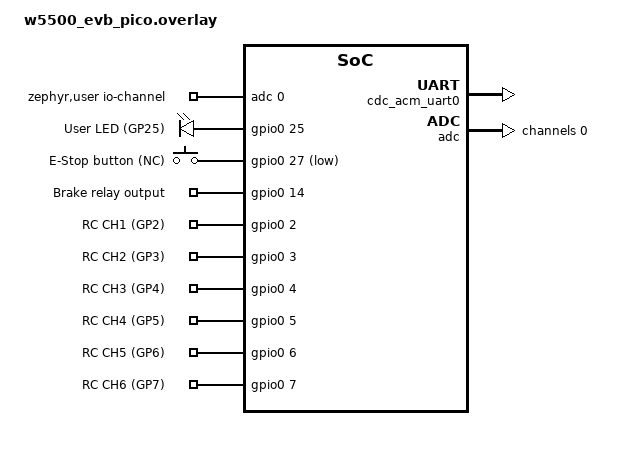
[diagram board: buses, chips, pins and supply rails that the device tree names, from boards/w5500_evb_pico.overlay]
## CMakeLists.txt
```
cmake_minimum_required(VERSION 3.20.0)

list(APPEND ZEPHYR_EXTRA_MODULES
    $ENV{ZEPHYR_BASE}/../modules/lib/micro_ros_zephyr_module/modules/libmicroros
    ${CMAKE_CURRENT_SOURCE_DIR}/modules/w6100_driver)

find_package(Zephyr REQUIRED HINTS $ENV{ZEPHYR_BASE})
project(w6100_pico_bridge)

target_sources(app PRIVATE
    src/main.c
    src/config/config.c
    src/shell/shell_cmd.c
    src/bridge/channel_manager.c
    src/bridge/diagnostics.c
    src/bridge/param_server.c
    src/bridge/service_manager.c
    src/drivers/drv_gpio.c
    src/drivers/drv_adc.c
    src/drivers/drv_pwm_in.c
    src/user/user_channels.c
    src/user/test_channels.c
    src/user/estop.c
    src/user/rc.c
)

target_include_directories(app PRIVATE src)
```

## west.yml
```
manifest:
  version: "0.13"

  remotes:
    - name: zephyrproject-rtos
      url-base: https://github.com/zephyrproject-rtos
    - name: micro-ros
      url-base: https://github.com/micro-ROS

  projects:
    - name: zephyr
      remote: zephyrproject-rtos
      revision: main
      import: true

    - name: micro_ros_zephyr_module
      remote: micro-ros
      revision: jazzy
      path: modules/lib/micro_ros_zephyr_module

  self:
    path: app
```

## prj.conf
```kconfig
# USB CDC ACM - serial konzol
CONFIG_USB_DEVICE_STACK=y
CONFIG_USB_CDC_ACM=y
CONFIG_UART_LINE_CTRL=y
CONFIG_SERIAL=y
CONFIG_CONSOLE=y
CONFIG_UART_CONSOLE=y

# Networking
CONFIG_NETWORKING=y
CONFIG_NET_L2_ETHERNET=y
CONFIG_NET_L2_ETHERNET_MGMT=y
# W6100 out-of-tree driver — app/modules/w6100_driver/ (backport Zephyr main
# upstream PR-ból v4.2.2 alá). Az overlay átírja a &ethernet node compatible
# mezőjét "wiznet,w6100"-ra, így a stock w5500 driver kikapcsolható.
CONFIG_ETH_W5500=n
CONFIG_ETH_W6100=y
CONFIG_NET_IPV4=y
CONFIG_NET_UDP=y
CONFIG_NET_LOG=y

# IP konfig — a tényleges beállítás config.json-ból jön (main.c)
CONFIG_NET_DHCPV4=y

# Hostname — set dynamically at runtime from node_name
CONFIG_NET_HOSTNAME_ENABLE=y
CONFIG_NET_HOSTNAME_DYNAMIC=y
CONFIG_NET_HOSTNAME="ROS_Bridge"
CONFIG_NET_HOSTNAME_MAX_LEN=63

# POSIX sockets (micro-ROS UDP transport)
CONFIG_POSIX_API=y
CONFIG_NET_SOCKETS=y

# Network buffers (RP2040: 264KB RAM)
CONFIG_NET_PKT_RX_COUNT=8
CONFIG_NET_PKT_TX_COUNT=8
CONFIG_NET_BUF_RX_COUNT=24
CONFIG_NET_BUF_TX_COUNT=24

# micro-ROS
CONFIG_MICROROS=y
CONFIG_MICROROS_TRANSPORT_UDP=y
CONFIG_MICROROS_AGENT_IP="192.168.68.125"
CONFIG_MICROROS_AGENT_PORT="8888"

# C++ és newlib (micro-ROS szükséges)
CONFIG_CPP=y
CONFIG_NEWLIB_LIBC=y
CONFIG_NEWLIB_LIBC_NANO=n

# Logging
CONFIG_LOG=y
CONFIG_LOG_DEFAULT_LEVEL=3
CONFIG_LOG_PROCESS_THREAD_STACK_SIZE=2048

# Random number generator (networking igényli)
CONFIG_ENTROPY_GENERATOR=y
CONFIG_TEST_RANDOM_GENERATOR=y

# Heap / Stack (micro-ROS nagyobb igény)
CONFIG_HEAP_MEM_POOL_SIZE=98304
CONFIG_MAIN_STACK_SIZE=16384

# Flash + LittleFS (config tárolás)
CONFIG_FLASH=y
CONFIG_FLASH_MAP=y
CONFIG_FLASH_PAGE_LAYOUT=y
CONFIG_FILE_SYSTEM=y
CONFIG_FILE_SYSTEM_LITTLEFS=y
CONFIG_FS_LITTLEFS_FC_HEAP_SIZE=4096

# Shell (config parancsok soros konzolon)
CONFIG_SHELL=y
CONFIG_SHELL_BACKEND_SERIAL=y
CONFIG_SHELL_STACK_SIZE=4096
CONFIG_SHELL_ARGC_MAX=8
CONFIG_SHELL_CMD_BUFF_SIZE=256
CONFIG_SHELL_BACKEND_SERIAL_RX_RING_BUFFER_SIZE=512
CONFIG_SHELL_BACKEND_SERIAL_TX_RING_BUFFER_SIZE=8192
CONFIG_SHELL_STACK_SIZE=8192
CONFIG_REBOOT=y

# Hardware watchdog (RP2040 beépített WDT)
CONFIG_WATCHDOG=y

# Hardware info (RP2040 unique device ID — used for MAC generation)
CONFIG_HWINFO=y

# Heap runtime stats (ERR-001 investigation: param_server_init)
CONFIG_SYS_HEAP_RUNTIME_STATS=y

# --- micro-ROS entity limits ---
# Publishers: 16 csatorna + 1 diagnostics + 1 param event + spare = 20
# Subscribers: 16 csatorna (legrosszabb eset)
# Servers: 6 param server + 2 user service (E-Stop, relay) = 8
CONFIG_MICROROS_PUBLISHERS="20"
CONFIG_MICROROS_SUBSCRIBERS="16"
CONFIG_MICROROS_SERVERS="8"
CONFIG_MICROROS_CLIENTS="0"
CONFIG_MICROROS_NODES="1"

# --- GPIO interrupt (atomic flag ISR-hez) ---
# CONFIG_ATOMIC_OPERATIONS_BUILTIN nem user-configurable; RP2040-on automatikusan builtin

# --- ADC (akkumulátor feszültségmérés) ---
CONFIG_ADC=y
```

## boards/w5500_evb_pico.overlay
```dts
/ {
	chosen {
		zephyr,console = &cdc_acm_uart0;
		zephyr,shell-uart = &cdc_acm_uart0;
	};

	/*
	 * ADC csatorna — akkumulátor feszültség mérés
	 * Placeholder: GP26 = ADC0. Hardver véglegesítésekor csak a channel
	 * számot kell átírni (0=GP26, 1=GP27, 2=GP28, 3=GP29/VSYS).
	 */
	zephyr,user {
		io-channels = <&adc 0>;
	};

	leds {
		compatible = "gpio-leds";
		user_led: led_0 {
			gpios = <&gpio0 25 GPIO_ACTIVE_HIGH>;
			label = "User LED (GP25)";
		};
	};

	/*
	 * GPIO csatornák — placeholder pinek, hardver véglegesítésekor
	 * csak az alábbi GP számokat kell átírni, C kód nem változik.
	 *
	 * estop-btn:   GP27 — E-Stop NC gomb (GND felé kötve, pull-up)
	 * relay-brake: GP14 — Fékvezérlő relé kimenet
	 */
	gpio_channels {
		compatible = "gpio-keys";

		estop_btn: estop_btn {
			gpios = <&gpio0 27 (GPIO_ACTIVE_LOW | GPIO_PULL_UP)>;
			label = "E-Stop button (NC)";
		};

		relay_brake: relay_brake {
			gpios = <&gpio0 14 GPIO_ACTIVE_HIGH>;
			label = "Brake relay output";
		};
	};

	rc_inputs {
		compatible = "gpio-keys";

		rc_ch1: rc_ch1 { gpios = <&gpio0 2 0>; label = "RC CH1 (GP2)"; };
		rc_ch2: rc_ch2 { gpios = <&gpio0 3 0>; label = "RC CH2 (GP3)"; };
		rc_ch3: rc_ch3 { gpios = <&gpio0 4 0>; label = "RC CH3 (GP4)"; };
		rc_ch4: rc_ch4 { gpios = <&gpio0 5 0>; label = "RC CH4 (GP5)"; };
		rc_ch5: rc_ch5 { gpios = <&gpio0 6 0>; label = "RC CH5 (GP6)"; };
		rc_ch6: rc_ch6 { gpios = <&gpio0 7 0>; label = "RC CH6 (GP7)"; };
	};

	aliases {
		led0        = &user_led;
		estop-btn   = &estop_btn;
		relay-brake = &relay_brake;
		rc-ch1      = &rc_ch1;
		rc-ch2      = &rc_ch2;
		rc-ch3      = &rc_ch3;
		rc-ch4      = &rc_ch4;
		rc-ch5      = &rc_ch5;
		rc-ch6      = &rc_ch6;
	};
};

&zephyr_udc0 {
	cdc_acm_uart0: cdc_acm_uart0 {
		compatible = "zephyr,cdc-acm-uart";
	};
};

/*
 * Board hardware contains a WIZnet W6100 chip. A stock `w5500_evb_pico` board
 * def a wiznet,w5500 drivert köti a &ethernet node-hoz, itt felülírjuk W6100-ra.
 * Driver forrása: app/modules/w6100_driver/ (out-of-tree backport a Zephyr main
 * upstream PR-ból v4.2.2 alá). Kconfig: CONFIG_ETH_W6100.
 */
&ethernet {
	compatible = "wiznet,w6100";
};

/* ADC — akkumulátor feszültség (GP26 = channel 0, placeholder) */
&adc {
	#address-cells = <1>;
	#size-cells = <0>;
	status = "okay";

	channel@0 {
		reg = <0>;
		zephyr,gain = "ADC_GAIN_1";
		zephyr,reference = "ADC_REF_INTERNAL";
		zephyr,acquisition-time = <ADC_ACQ_TIME_DEFAULT>;
		zephyr,resolution = <12>;
	};
};

/* LittleFS storage partition — last 1MB of flash (offset 15MB) */
&flash0 {
	partitions {
		storage_partition: partition@f00000 {
			label = "storage";
			reg = <0x00f00000 0x00100000>;
		};
	};
};
```

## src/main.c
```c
#include <zephyr/kernel.h>
#include <zephyr/logging/log.h>
#include <zephyr/usb/usb_device.h>
#include <zephyr/drivers/uart.h>
#include <zephyr/drivers/gpio.h>
#include <zephyr/drivers/watchdog.h>
#include <zephyr/net/net_if.h>
#include <zephyr/net/net_core.h>
#include <zephyr/net/net_ip.h>
#include <zephyr/net/dhcpv4.h>
#include <zephyr/net/net_mgmt.h>
#include <zephyr/net/net_event.h>
#include <zephyr/sys/reboot.h>
#include <zephyr/drivers/hwinfo.h>
#include <zephyr/net/ethernet.h>
#include <zephyr/net/hostname.h>

#include <rcl/rcl.h>
#include <rcl/error_handling.h>
#include <rclc/rclc.h>
#include <rclc/executor.h>
#include <rmw_microros/rmw_microros.h>
#include <microros_transports.h>

#include <string.h>
#include "config/config.h"
#include "bridge/channel_manager.h"
#include "bridge/diagnostics.h"
#include "bridge/param_server.h"
#include "bridge/service_manager.h"
#include "user/user_channels.h"

LOG_MODULE_REGISTER(main, LOG_LEVEL_INF);

BUILD_ASSERT(DT_NODE_HAS_COMPAT(DT_CHOSEN(zephyr_console), zephyr_cdc_acm_uart),
	     "Console device is not CDC ACM UART");

/* ------------------------------------------------------------------ */
/*  Timing constants                                                   */
/* ------------------------------------------------------------------ */

#define DTR_TIMEOUT_MS       3000   /* max wait for USB monitor (autonomous mode) */
#define WDT_TIMEOUT_MS       8000   /* hardware watchdog timeout (RP2040 max ~8388ms) */
#define AGENT_PING_TIMEOUT   200    /* agent ping timeout in ms                   */
#define AGENT_PING_ATTEMPTS  1      /* number of ping attempts per cycle          */
#define AGENT_WAIT_DELAY_MS  2000   /* delay between ping retries                 */
#define NET_LINK_TIMEOUT_S   15     /* Ethernet link UP wait timeout              */
#define DHCP_TIMEOUT_S       20     /* DHCP lease acquisition timeout             */

/* ------------------------------------------------------------------ */
/*  Hardware watchdog                                                  */
/* ------------------------------------------------------------------ */

static const struct device *wdt;
static int wdt_channel = -1;

static void watchdog_init(void)
{
	wdt = DEVICE_DT_GET(DT_NODELABEL(wdt0));
	if (!device_is_ready(wdt)) {
		LOG_WRN("Watchdog not available");
		wdt = NULL;
		return;
	}

	struct wdt_timeout_cfg wdt_cfg = {
		.window.min = 0,
		.window.max = WDT_TIMEOUT_MS,
		.callback   = NULL,
		.flags      = WDT_FLAG_RESET_SOC,
	};

	wdt_channel = wdt_install_timeout(wdt, &wdt_cfg);
	if (wdt_channel < 0) {
		LOG_WRN("Watchdog timeout install error: %d", wdt_channel);
		wdt = NULL;
		return;
	}

	if (wdt_setup(wdt, WDT_OPT_PAUSE_HALTED_BY_DBG) < 0) {
		LOG_WRN("Watchdog setup error");
		wdt = NULL;
		return;
	}

	LOG_INF("Watchdog active (%d ms timeout)", WDT_TIMEOUT_MS);
}

static inline void watchdog_feed(void)
{
	if (wdt && wdt_channel >= 0) {
		wdt_feed(wdt, wdt_channel);
	}
}

/* ------------------------------------------------------------------ */
/*  Status LED — GP25 (built-in LED)                                  */
/* ------------------------------------------------------------------ */

static const struct gpio_dt_spec status_led =
	GPIO_DT_SPEC_GET(DT_ALIAS(led0), gpios);

static void led_set(bool on)
{
	gpio_pin_set_dt(&status_led, on ? 1 : 0);
}

/* ------------------------------------------------------------------ */
/*  Apply network configuration (DHCP or static IP)                  */
/* ------------------------------------------------------------------ */

static K_SEM_DEFINE(net_event_sem, 0, 1);
static struct net_mgmt_event_callback net_mgmt_cb;

static void net_event_handler(struct net_mgmt_event_callback *cb,
			       uint64_t event, struct net_if *iface)
{
	ARG_UNUSED(cb);
	ARG_UNUSED(iface);
	if (event == NET_EVENT_IF_UP ||
	    event == NET_EVENT_IPV4_DHCP_BOUND) {
		k_sem_give(&net_event_sem);
	}
}

static int parse_mac_str(const char *str, uint8_t *out)
{
	if (strlen(str) != 17) {
		return -EINVAL;
	}
	for (int i = 0; i < 6; i++) {
		char byte_str[3] = { str[i * 3], str[i * 3 + 1], '\0' };
		char *end;
		unsigned long val = strtoul(byte_str, &end, 16);

		if (*end != '\0' || val > 0xFF) {
			return -EINVAL;
		}
		out[i] = (uint8_t)val;
	}
	return 0;
}

static int set_mac_on_chip(struct net_if *iface, uint8_t *mac)
{
	const struct device *dev = net_if_get_device(iface);
	const struct ethernet_api *api = dev->api;
	struct ethernet_config config = { 0 };

	memcpy(config.mac_address.addr, mac, 6);
	return api->set_config(dev, ETHERNET_CONFIG_TYPE_MAC_ADDRESS, &config);
}

static void apply_mac_address(struct net_if *iface)
{
	uint8_t mac[6];
	int rc;

	if (g_config.network.mac[0] != '\0') {
		if (parse_mac_str(g_config.network.mac, mac) == 0) {
			rc = set_mac_on_chip(iface, mac);
			if (rc == 0) {
				LOG_INF("MAC: %02x:%02x:%02x:%02x:%02x:%02x (config)",
					mac[0], mac[1], mac[2],
					mac[3], mac[4], mac[5]);
				return;
			}
			LOG_WRN("set MAC from config failed: %d", rc);
		} else {
			LOG_WRN("Invalid MAC in config.json, falling back to auto");
		}
	}

	uint8_t dev_id[8];
	ssize_t id_len = hwinfo_get_device_id(dev_id, sizeof(dev_id));

	if (id_len >= 5) {
		mac[0] = 0x02; /* locally administered */
		mac[1] = dev_id[0];
		mac[2] = dev_id[1];
		mac[3] = dev_id[2];
		mac[4] = dev_id[3];
		mac[5] = dev_id[4];
		rc = set_mac_on_chip(iface, mac);
		if (rc == 0) {
			LOG_INF("MAC: %02x:%02x:%02x:%02x:%02x:%02x (auto/hwinfo)",
				mac[0], mac[1], mac[2],
				mac[3], mac[4], mac[5]);
		} else {
			LOG_WRN("set MAC from hwinfo failed: %d", rc);
		}
	} else {
		LOG_WRN("hwinfo_get_device_id failed (%d), using DTS MAC",
			(int)id_len);
	}
}

static void apply_network_config(void)
{
	struct net_if *iface = net_if_get_default();

	/* Set unique MAC before any network operations */
	apply_mac_address(iface);

	/* Set hostname for DHCP identification: ROS_Bridge_<node_name> */
	{
		char hostname[64];
		int n = snprintf(hostname, sizeof(hostname), "ROS_Bridge_%s",
				 g_config.ros.node_name);
		if (n > 0 && (size_t)n < sizeof(hostname)) {
			net_hostname_set(hostname, n);
		}
		LOG_INF("Hostname: %s", net_hostname_get());
	}

	/* Wait for Ethernet link UP — feed WDT in 500ms slices to avoid 8s timeout */
	if (!net_if_is_up(iface)) {
		LOG_INF("Waiting for Ethernet link (max %ds)...", NET_LINK_TIMEOUT_S);
		net_mgmt_init_event_callback(&net_mgmt_cb, net_event_handler,
					     NET_EVENT_IF_UP);
		net_mgmt_add_event_callback(&net_mgmt_cb);
		bool link_up = false;
		int64_t link_deadline = k_uptime_get() + NET_LINK_TIMEOUT_S * 1000;

		while (k_uptime_get() < link_deadline) {
			watchdog_feed();
			if (k_sem_take(&net_event_sem, K_MSEC(500)) == 0) {
				link_up = true;
				break;
			}
		}
		if (link_up) {
			LOG_INF("Ethernet link UP");
		} else {
			LOG_WRN("Ethernet link timeout — continuing without cable");
		}
		net_mgmt_del_event_callback(&net_mgmt_cb);
	}

	if (g_config.network.dhcp) {
		LOG_INF("Network: DHCP starting...");
		net_mgmt_init_event_callback(&net_mgmt_cb, net_event_handler,
					     NET_EVENT_IPV4_DHCP_BOUND);
		net_mgmt_add_event_callback(&net_mgmt_cb);
		net_dhcpv4_start(iface);
		bool dhcp_ok = false;
		int64_t dhcp_deadline = k_uptime_get() + DHCP_TIMEOUT_S * 1000;

		while (k_uptime_get() < dhcp_deadline) {
			watchdog_feed();
			if (k_sem_take(&net_event_sem, K_MSEC(500)) == 0) {
				dhcp_ok = true;
				break;
			}
		}
		if (dhcp_ok) {
			LOG_INF("DHCP: IP address assigned");
		} else {
			LOG_WRN("DHCP timeout — continuing without IP address");
		}
		net_mgmt_del_event_callback(&net_mgmt_cb);
	} else {
		struct in_addr addr, mask, gw;

		if (net_addr_pton(AF_INET, g_config.network.ip,      &addr) < 0 ||
		    net_addr_pton(AF_INET, g_config.network.netmask, &mask) < 0 ||
		    net_addr_pton(AF_INET, g_config.network.gateway, &gw)   < 0) {
			LOG_ERR("Network address format error — check config.json");
			return;
		}

		net_if_ipv4_addr_add(iface, &addr, NET_ADDR_MANUAL, 0);
		net_if_ipv4_set_netmask_by_addr(iface, &addr, &mask);
		net_if_ipv4_set_gw(iface, (const struct net_in_addr *)&gw);

		LOG_INF("Network: static IP %s", g_config.network.ip);
		k_sleep(K_MSEC(500));
	}
}

/* ------------------------------------------------------------------ */
/*  micro-ROS session init / cleanup                                  */
/* ------------------------------------------------------------------ */

static rcl_allocator_t allocator;
static rclc_support_t  support;
static rcl_node_t      node;
static rclc_executor_t executor;
static bool            session_active;

static bool ros_session_init(void)
{
	allocator = rcl_get_default_allocator();

	/* Ensure clean state even if a previous attempt partially initialized */
	memset(&support, 0, sizeof(support));
	memset(&node,    0, sizeof(node));
	memset(&executor, 0, sizeof(executor));

	if (rclc_support_init(&support, 0, NULL, &allocator) != RCL_RET_OK) {
		LOG_ERR("rclc_support_init error");
		return false;
	}

	if (rclc_node_init_default(&node,
				   g_config.ros.node_name,
				   g_config.ros.namespace_,
				   &support) != RCL_RET_OK) {
		LOG_ERR("rclc_node_init error");
		rclc_support_fini(&support);
		return false;
	}

	if (channel_manager_create_entities(&node, &allocator) < 0) {
		LOG_ERR("channel_manager_create_entities error");
		rcl_node_fini(&node);
		rclc_support_fini(&support);
		return false;
	}

	/* Diagnostics publisher — before executor (no executor handle needed) */
	if (diagnostics_init(&node, &allocator) < 0) {
		LOG_WRN("Diagnostics init failed — continuing without /diagnostics");
	}

	int sub_count    = channel_manager_sub_count();
	int handle_count = sub_count + PARAM_SERVER_HANDLES + service_count();

	if (handle_count < 1) {
		handle_count = 1;
	}

	if (rclc_executor_init(&executor, &support.context,
			       handle_count, &allocator) != RCL_RET_OK) {
		LOG_ERR("rclc_executor_init error");
		diagnostics_fini(&node);
		channel_manager_destroy_entities(&node, &allocator);
		rcl_node_fini(&node);
		rclc_support_fini(&support);
		return false;
	}

	channel_manager_add_subs_to_executor(&executor);

	/* Parameter server — after executor init, adds itself to executor */
	if (param_server_init(&node, &executor) < 0) {
		LOG_WRN("Param server init failed — continuing without params");
	}

	/* Services — after executor init, each adds itself to executor */
	if (service_manager_init(&node, &executor) < 0) {
		LOG_WRN("Service manager init failed");
	}

	/* Restore persisted channel params from flash */
	param_server_load_from_config();

	session_active = true;
	LOG_INF("micro-ROS session active. %d channels, %d subscribers.",
		channel_manager_count(), sub_count);
	return true;
}

static void ros_session_fini(void)
{
	if (!session_active) {
		return;
	}
	/* Destroy in reverse init order — children before parent node */
	service_manager_fini(&node);
	param_server_fini(&node);
	diagnostics_fini(&node);
	channel_manager_destroy_entities(&node, &allocator);
	rclc_executor_fini(&executor);
	rcl_node_fini(&node);
	rclc_support_fini(&support);
	session_active = false;
	LOG_INF("micro-ROS session closed");
}

/* ------------------------------------------------------------------ */
/*  Reconnection loop                                                  */
/* ------------------------------------------------------------------ */

static void bridge_run(void)
{
	LOG_INF("Starting bridge main loop");

	while (true) {
		watchdog_feed();

		/* ---------------------------------------------------- */
		/*  Phase 1: Search for agent (blocking, with WDT feed) */
		/* ---------------------------------------------------- */
		if (rmw_uros_ping_agent(AGENT_PING_TIMEOUT, AGENT_PING_ATTEMPTS)
		    != RMW_RET_OK) {
			led_set(false);
			LOG_INF("Searching for agent: %s:%s ...",
				g_config.network.agent_ip,
				g_config.network.agent_port);

			while (rmw_uros_ping_agent(AGENT_PING_TIMEOUT,
						   AGENT_PING_ATTEMPTS)
			       != RMW_RET_OK) {
				watchdog_feed();
				k_sleep(K_MSEC(AGENT_WAIT_DELAY_MS));
			}

			LOG_INF("Agent found — initializing session");
		}

		/* ---------------------------------------------------- */
		/*  Phase 2: Session initialization                     */
		/* ---------------------------------------------------- */
		if (!ros_session_init()) {
			LOG_WRN("Session init failed, retrying...");
			k_sleep(K_MSEC(AGENT_WAIT_DELAY_MS));
			continue;
		}

		led_set(true);

		/* ---------------------------------------------------- */
		/*  Phase 3: Run — while agent is reachable            */
		/* ---------------------------------------------------- */
		int64_t last_ping_ms = k_uptime_get();
		int64_t last_diag_ms = k_uptime_get();

		while (true) {
			/* IRQ pending check — first, before anything else   */
			channel_manager_handle_irq_pending();

			/* Executor: 1ms timeout */
			rclc_executor_spin_some(&executor, RCL_MS_TO_NS(1));

			/* Periodic publish */
			channel_manager_publish();

			watchdog_feed();

			int64_t now = k_uptime_get();

			if ((now - last_ping_ms) >= 1000) {
				last_ping_ms = now;

				if (rmw_uros_ping_agent(AGENT_PING_TIMEOUT,
							AGENT_PING_ATTEMPTS)
				    != RMW_RET_OK) {
					LOG_WRN("Agent connection lost");
					break;
				}
			}

			if ((now - last_diag_ms) >= 5000) {
				last_diag_ms = now;
				diagnostics_publish();
			}

			k_msleep(1);
		}

		/* ---------------------------------------------------- */
		/*  Phase 4: Cleanup, back to agent search             */
		/* ---------------------------------------------------- */
		led_set(false);
		ros_session_fini();
		g_reconnect_count++;
		LOG_INF("Reconnecting... (attempt %d)", g_reconnect_count);
		k_sleep(K_MSEC(AGENT_WAIT_DELAY_MS));
	}
}

/* ------------------------------------------------------------------ */
/*  Main                                                               */
/* ------------------------------------------------------------------ */

int main(void)
{
	/* LED init — first, so it can signal during boot */
	gpio_pin_configure_dt(&status_led, GPIO_OUTPUT_INACTIVE);
	led_set(false);

	/* Hardware watchdog */
	watchdog_init();

	/* USB CDC ACM init */
	if (usb_enable(NULL) == 0) {
		const struct device *console =
			DEVICE_DT_GET(DT_CHOSEN(zephyr_console));
		uint32_t dtr = 0;

		/*
		 * Brief DTR poll: if a USB host is connected and a serial
		 * monitor is open, DTR goes high almost immediately.  We
		 * poll a few times so early boot logs are not lost, but
		 * never block long enough to delay autonomous operation.
		 */
		for (int i = 0; i < 10 && !dtr; i++) {
			uart_line_ctrl_get(console, UART_LINE_CTRL_DTR, &dtr);
			if (!dtr) {
				k_sleep(K_MSEC(50));
			}
		}

		if (dtr) {
			LOG_INF("USB console connected");
		} else {
			LOG_INF("No USB console — autonomous mode");
		}
	}

	/* ------------------------------------------------------------ */
	/*  Load configuration                                          */
	/* ------------------------------------------------------------ */
	config_init();
	watchdog_feed();

	LOG_INF("W6100 EVB Pico - micro-ROS Bridge");
	LOG_INF("Node: %s%s", g_config.ros.namespace_, g_config.ros.node_name);
	LOG_INF("Agent: %s:%s", g_config.network.agent_ip,
		g_config.network.agent_port);

	/* ------------------------------------------------------------ */
	/*  Register channels and initialize hardware                  */
	/* ------------------------------------------------------------ */
	user_register_channels();
	channel_manager_init_channels();
	watchdog_feed();

	/* ------------------------------------------------------------ */
	/*  Apply network configuration                                */
	/* ------------------------------------------------------------ */
	apply_network_config();
	watchdog_feed();

	/* ------------------------------------------------------------ */
	/*  Configure micro-ROS UDP transport                          */
	/* ------------------------------------------------------------ */
	memset(&default_params, 0, sizeof(default_params));
	strncpy(default_params.ip,   g_config.network.agent_ip,
		sizeof(default_params.ip)   - 1);
	strncpy(default_params.port, g_config.network.agent_port,
		sizeof(default_params.port) - 1);
	default_params.ip[sizeof(default_params.ip)   - 1] = '\0';
	default_params.port[sizeof(default_params.port) - 1] = '\0';

	rmw_uros_set_custom_transport(
		MICRO_ROS_FRAMING_REQUIRED,
		(void *)&default_params,
		zephyr_transport_open,
		zephyr_transport_close,
		zephyr_transport_write,
		zephyr_transport_read
	);

	LOG_INF("Shell: 'bridge config show'");

	/* ------------------------------------------------------------ */
	/*  Reconnection loop — never returns                          */
	/* ------------------------------------------------------------ */
	bridge_run();

	/* Should never reach here */
	sys_reboot(SYS_REBOOT_COLD);
	return 0;
}
```
